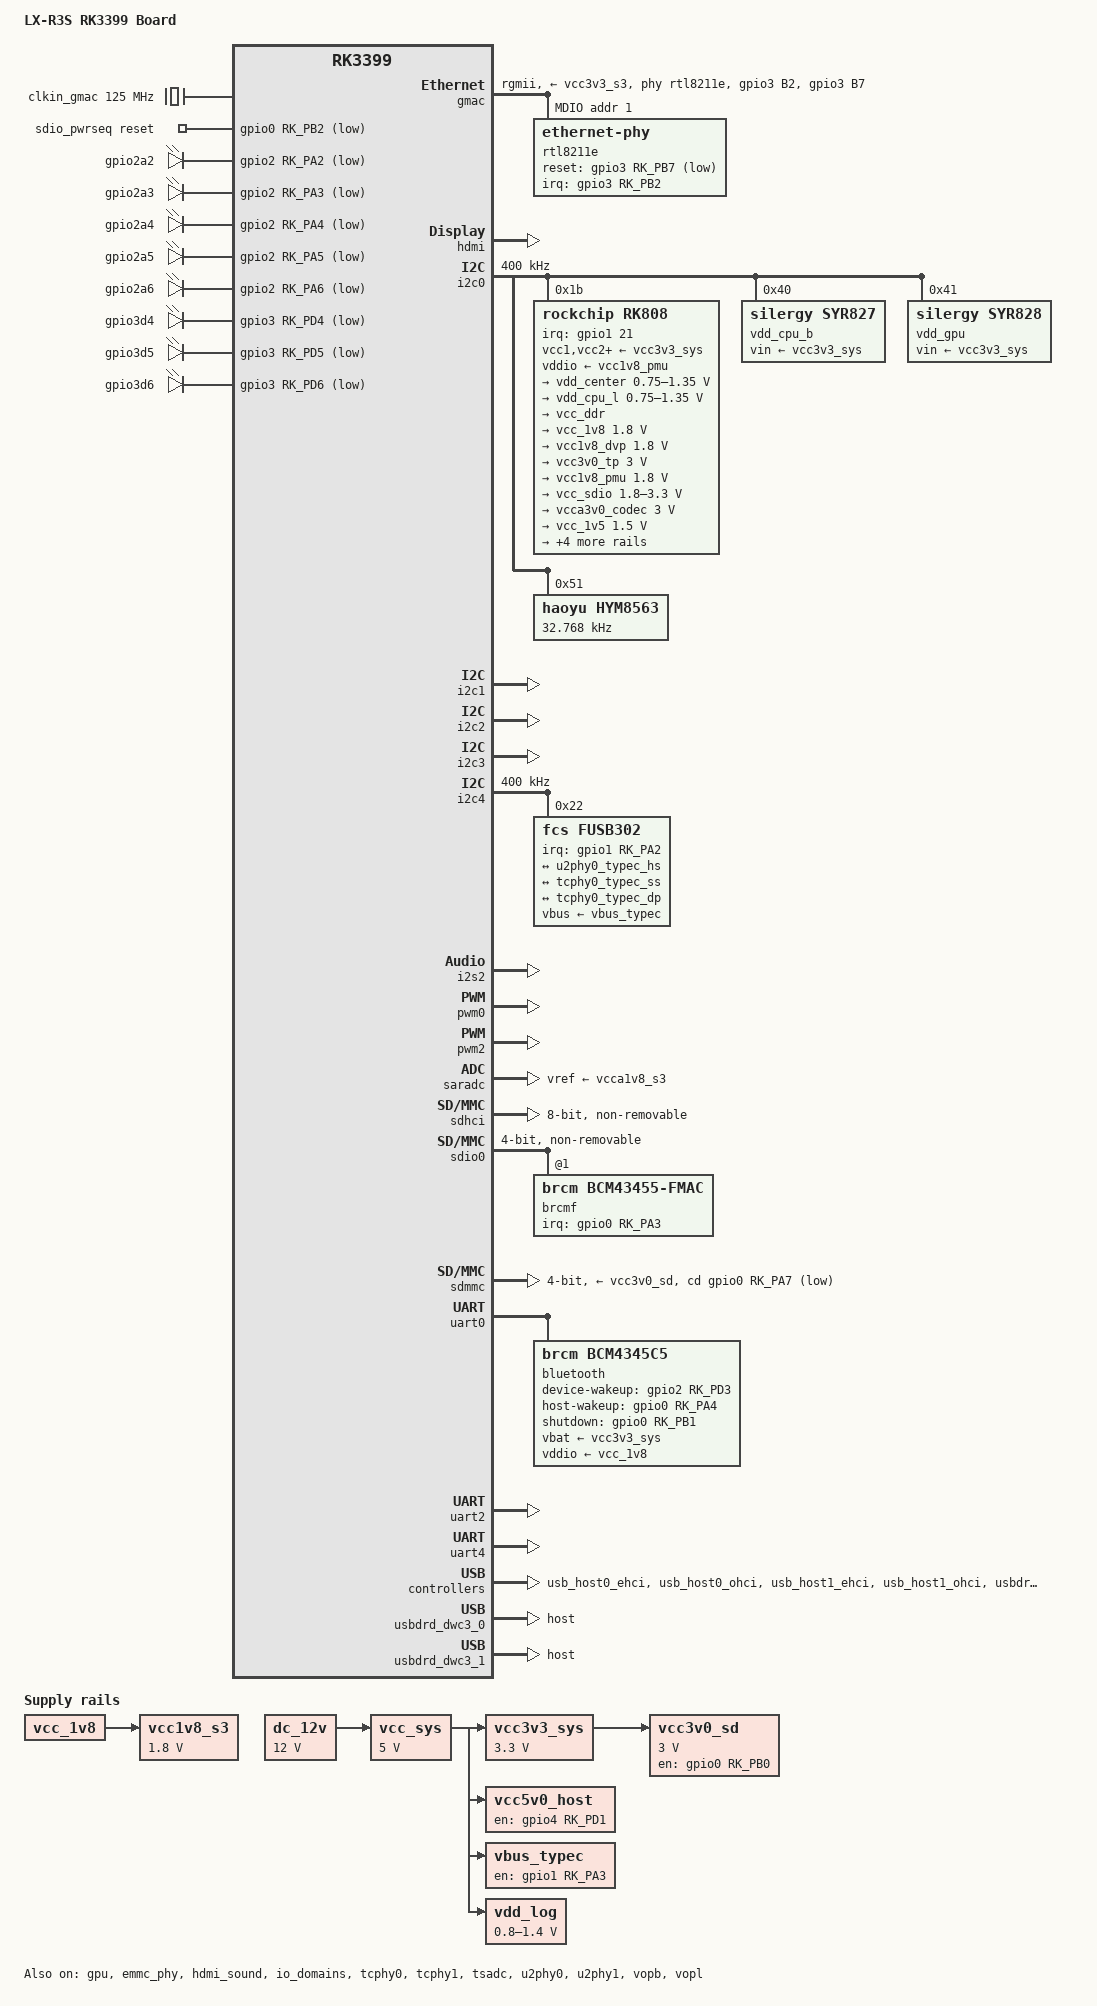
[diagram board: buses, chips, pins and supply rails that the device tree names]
// SPDX-License-Identifier: (GPL-2.0+ OR MIT)
/dts-v1/;

#include <dt-bindings/pwm/pwm.h>
#include <dt-bindings/input/input.h>
#include <dt-bindings/usb/pd.h>
#include "rk3399.dtsi"

/ {
	model = "LX-R3S RK3399 Board";
	compatible = "rockchip,rk3399";

	aliases {
		ethernet0 = &gmac;
		mmc0 = &sdio0;
		mmc1 = &sdmmc;
		mmc2 = &sdhci;
	};

	chosen {
		stdout-path = "serial2:1500000n8";
	};
/*
	backlight: backlight {
		compatible = "pwm-backlight";
		brightness-levels = <
			  0   1   2   3   4   5   6   7
			  8   9  10  11  12  13  14  15
			 16  17  18  19  20  21  22  23
			 24  25  26  27  28  29  30  31
			 32  33  34  35  36  37  38  39
			 40  41  42  43  44  45  46  47
			 48  49  50  51  52  53  54  55
			 56  57  58  59  60  61  62  63
			 64  65  66  67  68  69  70  71
			 72  73  74  75  76  77  78  79
			 80  81  82  83  84  85  86  87
			 88  89  90  91  92  93  94  95
			 96  97  98  99 100 101 102 103
			104 105 106 107 108 109 110 111
			112 113 114 115 116 117 118 119
			120 121 122 123 124 125 126 127
			128 129 130 131 132 133 134 135
			136 137 138 139 140 141 142 143
			144 145 146 147 148 149 150 151
			152 153 154 155 156 157 158 159
			160 161 162 163 164 165 166 167
			168 169 170 171 172 173 174 175
			176 177 178 179 180 181 182 183
			184 185 186 187 188 189 190 191
			192 193 194 195 196 197 198 199
			200 201 202 203 204 205 206 207
			208 209 210 211 212 213 214 215
			216 217 218 219 220 221 222 223
			224 225 226 227 228 229 230 231
			232 233 234 235 236 237 238 239
			240 241 242 243 244 245 246 247
			248 249 250 251 252 253 254 255>;
		default-brightness-level = <200>;
		enable-gpios = <&gpio1 RK_PA1 GPIO_ACTIVE_HIGH>; // bsp
		pwms = <&pwm0 0 25000 0>;
		status = "okay";
	};
*/
	clkin_gmac: external-gmac-clock {
		compatible = "fixed-clock";
		clock-frequency = <125000000>;
		clock-output-names = "clkin_gmac";
		#clock-cells = <0>;
	};

	dc_12v: dc-12v {
		compatible = "regulator-fixed";
		regulator-name = "dc_12v";
		regulator-always-on;
		regulator-boot-on;
		regulator-min-microvolt = <12000000>;
		regulator-max-microvolt = <12000000>;
	};

	sdio_pwrseq: sdio-pwrseq {
		compatible = "mmc-pwrseq-simple";
		clocks = <&rk808 1>;
		clock-names = "ext_clock";
		pinctrl-names = "default";
		pinctrl-0 = <&wifi_reg_on_h>;
		reset-gpios = <&gpio0 RK_PB2 GPIO_ACTIVE_LOW>;
	};

	/* switched by pmic_sleep */
	vcc1v8_s3: vcca1v8_s3: vcc1v8-s3 {
		compatible = "regulator-fixed";
		regulator-name = "vcc1v8_s3";
		regulator-always-on;
		regulator-boot-on;
		regulator-min-microvolt = <1800000>;
		regulator-max-microvolt = <1800000>;
		vin-supply = <&vcc_1v8>;
	};

	vcc3v0_sd: vcc3v0-sd {
		compatible = "regulator-fixed";
		enable-active-high;
		gpio = <&gpio0 RK_PB0 GPIO_ACTIVE_HIGH>; // bsp
		pinctrl-names = "default";
		pinctrl-0 = <&sdmmc0_pwr_h>;
		regulator-boot-on;
		regulator-max-microvolt = <3000000>;
		regulator-min-microvolt = <3000000>;
		regulator-name = "vcc3v0_sd";
		vin-supply = <&vcc3v3_sys>;
	};

	vcc3v3_sys: vcc3v3-sys {
		compatible = "regulator-fixed";
		regulator-name = "vcc3v3_sys";
		regulator-always-on;
		regulator-boot-on;
		regulator-min-microvolt = <3300000>;
		regulator-max-microvolt = <3300000>;
		vin-supply = <&vcc_sys>;
	};

	vcc5v0_host: vcc5v0-host-regulator {
		compatible = "regulator-fixed";
		enable-active-high;
		gpio = <&gpio4 RK_PD1 GPIO_ACTIVE_HIGH>;
		pinctrl-names = "default";
		pinctrl-0 = <&vcc5v0_host_en>;
		regulator-name = "vcc5v0_host";
		regulator-always-on;
		vin-supply = <&vcc_sys>;
	};

	vbus_typec: vbus-typec-regulator {
		compatible = "regulator-fixed";
		enable-active-high;
		gpio = <&gpio1 RK_PA3 GPIO_ACTIVE_HIGH>; // bsp verify
		pinctrl-names = "default";
		pinctrl-0 = <&vcc5v0_typec_en>;
		regulator-name = "vbus_typec";
		vin-supply = <&vcc_sys>;
	};

	vcc_sys: vcc-sys {
		compatible = "regulator-fixed";
		regulator-name = "vcc_sys";
		regulator-always-on;
		regulator-boot-on;
		regulator-min-microvolt = <5000000>;
		regulator-max-microvolt = <5000000>;
		vin-supply = <&dc_12v>;
	};

	vdd_log: vdd-log {
		compatible = "pwm-regulator";
		pwms = <&pwm2 0 25000 1>;
		regulator-name = "vdd_log";
		regulator-always-on;
		regulator-boot-on;
		regulator-min-microvolt = <800000>;
		regulator-max-microvolt = <1400000>;
		vin-supply = <&vcc_sys>;
	};
/*
	vcc_lcd: vcc-lcd {
		compatible = "regulator-fixed";
		enable-active-high;
		gpio = <&gpio4 RK_PD6 GPIO_ACTIVE_HIGH>; // bsp
		regulator-boot-on;
		regulator-max-microvolt = <3300000>;
		regulator-min-microvolt = <3300000>;
		regulator-name = "vcc_lcd";
		startup-delay-us = <20000>;
	};
*/

	leds {
		compatible = "gpio-leds";
		pinctrl-names = "default";
		pinctrl-0 = <&gpio2a2_pin>, <&gpio2a3_pin>, <&gpio2a4_pin>, <&gpio2a5_pin>, <&gpio2a6_pin>,
					<&gpio3d4_pin>, <&gpio3d5_pin>, <&gpio3d6_pin>;

		gpio2a2_led: led-gpio2a2 {
			label = "gpio2a2";
			default-state = "off";
			gpios = <&gpio2 RK_PA2 GPIO_ACTIVE_LOW>;
		};
		gpio2a3_led: led-gpio2a3 {
			label = "gpio2a3";
			default-state = "off";
			gpios = <&gpio2 RK_PA3 GPIO_ACTIVE_LOW>;
		};
		gpio2a4_led: led-gpio2a4 {
			label = "gpio2a4";
			default-state = "off";
			gpios = <&gpio2 RK_PA4 GPIO_ACTIVE_LOW>;
		};
		gpio2a5_led: led-gpio2a5 {
			label = "gpio2a5";
			default-state = "off";
			gpios = <&gpio2 RK_PA5 GPIO_ACTIVE_LOW>;
		};
		gpio2a6_led: led-gpio2a6 {
			label = "gpio2a6";
			default-state = "off";
			gpios = <&gpio2 RK_PA6 GPIO_ACTIVE_LOW>;
		};

		gpio3d4_led: led-gpio3d4 {
			label = "gpio3d4";
			default-state = "off";
			gpios = <&gpio3 RK_PD4 GPIO_ACTIVE_LOW>;
		};
		// maybe used to enable usb 2.0
		gpio3d5_led: led-gpio3d5 {
			label = "gpio3d5";
			default-state = "off";
			gpios = <&gpio3 RK_PD5 GPIO_ACTIVE_LOW>;
		};
		gpio3d6_led: led-gpio3d6 {
			label = "gpio3d6";
			default-state = "off";
			gpios = <&gpio3 RK_PD6 GPIO_ACTIVE_LOW>;
		};
	};

	rt5640-sound {
		// status = "okay";
		status = "disabled";
		compatible = "simple-audio-card";
		pinctrl-names = "default";
		pinctrl-0 = <&rt5640_hpdet>;

		simple-audio-card,name = "rt5640-codec";
		simple-audio-card,format = "i2s";
		simple-audio-card,mclk-fs = <256>;
		simple-audio-card,hp-det-gpio = < &gpio4 RK_PD0 GPIO_ACTIVE_HIGH >;
		simple-audio-card,widgets =
			"Microphone", "Mic Jack",
			"Headphone", "Headphone Jack",
			"Speaker", "Speaker";
		simple-audio-card,routing =
			"Mic Jack", "MICBIAS1",
			"IN1P", "Mic Jack",
			"Headphone Jack", "HPOL",
			"Headphone Jack", "HPOR",
			"Speaker Amplifier INL", "HPOL",
			"Speaker Amplifier INR", "HPOR",
			"Speaker", "Speaker Amplifier OUTL",
			"Speaker", "Speaker Amplifier OUTR";

		simple-audio-card,cpu {
			sound-dai = <&i2s0>;
		};

		simple-audio-card,codec {
			sound-dai = <&rt5640>;
		};
	};

	speaker_amp: speaker-amplifier { // verify
		compatible = "simple-audio-amplifier";
		pinctrl-names = "default";
		pinctrl-0 = <&rt5640_spkcon>;
		enable-gpios = <&gpio0 RK_PB3 GPIO_ACTIVE_HIGH>;
		sound-name-prefix = "Speaker Amplifier";
		// VCC-supply = <&vcc5v0_sys>;
		status = "disabled";
	};

};

&cpu_l0 {
	cpu-supply = <&vdd_cpu_l>;
};

&cpu_l1 {
	cpu-supply = <&vdd_cpu_l>;
};

&cpu_l2 {
	cpu-supply = <&vdd_cpu_l>;
};

&cpu_l3 {
	cpu-supply = <&vdd_cpu_l>;
};

&cpu_b0 {
	cpu-supply = <&vdd_cpu_b>;
};

&cpu_b1 {
	cpu-supply = <&vdd_cpu_b>;
};

&gpu {
	mali-supply = <&vdd_gpu>;
	status = "okay";
};

&emmc_phy {
	status = "okay";
};

&gmac {
	assigned-clocks = <&cru SCLK_RMII_SRC>;
	assigned-clock-parents = <&clkin_gmac>;
	clock_in_out = "input";
	phy-supply = <&vcc3v3_s3>;
	phy-mode = "rgmii";
	phy-handle = <&rtl8211e>;
	pinctrl-names = "default";
	pinctrl-0 = <&rgmii_pins>, <&phy_intb>, <&phy_rstb>;
	tx_delay = <0x28>;
	rx_delay = <0x11>;
	status = "okay";

	mdio {
		compatible = "snps,dwmac-mdio";
		#address-cells = <1>;
		#size-cells = <0>;

		rtl8211e: ethernet-phy@1 {
			reg = <1>;
			interrupt-parent = <&gpio3>;
			interrupts = <RK_PB2 IRQ_TYPE_LEVEL_LOW>;
			reset-assert-us = <10000>;
			reset-deassert-us = <30000>;
			reset-gpios = <&gpio3 RK_PB7 GPIO_ACTIVE_LOW>;
		};
	};
};

/*
&gmac {
	assigned-clocks = <&cru SCLK_RMII_SRC>;
	assigned-clock-parents = <&clkin_gmac>;
	clock_in_out = "input";
	phy-supply = <&vcc_lan>;
	phy-mode = "rgmii";
	pinctrl-names = "default";
	pinctrl-0 = <&rgmii_pins>;
	snps,reset-gpio = <&gpio3 RK_PB7 GPIO_ACTIVE_LOW>;
	snps,reset-active-low;
	snps,reset-delays-us = <0 10000 50000>;
	tx_delay = <0x28>;
	rx_delay = <0x11>;
	status = "okay";
};
*/

&hdmi {
	ddc-i2c-bus = <&i2c3>;
	status = "okay";
};

&hdmi_sound {
	status = "okay";
};

&i2c0 {
	clock-frequency = <400000>;
	i2c-scl-rising-time-ns = <168>;
	i2c-scl-falling-time-ns = <4>;
	status = "okay";

	rk808: pmic@1b {
		compatible = "rockchip,rk808";
		reg = <0x1b>;
		interrupt-parent = <&gpio1>;
		interrupts = <21 IRQ_TYPE_LEVEL_LOW>;
		#clock-cells = <1>;
		clock-output-names = "xin32k", "rk808-clkout2";
		pinctrl-names = "default";
		pinctrl-0 = <&pmic_int_l>;
		rockchip,system-power-controller;
		wakeup-source;

		vcc1-supply = <&vcc3v3_sys>;
		vcc2-supply = <&vcc3v3_sys>;
		vcc3-supply = <&vcc3v3_sys>;
		vcc4-supply = <&vcc3v3_sys>;
		vcc6-supply = <&vcc3v3_sys>;
		vcc7-supply = <&vcc3v3_sys>;
		vcc8-supply = <&vcc3v3_sys>;
		vcc9-supply = <&vcc3v3_sys>;
		vcc10-supply = <&vcc3v3_sys>;
		vcc11-supply = <&vcc3v3_sys>;
		vcc12-supply = <&vcc3v3_sys>;
		vddio-supply = <&vcc1v8_pmu>;

		regulators {
			vdd_center: DCDC_REG1 {
				regulator-name = "vdd_center";
				regulator-always-on;
				regulator-boot-on;
				regulator-min-microvolt = <750000>;
				regulator-max-microvolt = <1350000>;
				regulator-ramp-delay = <6001>;
				regulator-state-mem {
					regulator-off-in-suspend;
				};
			};

			vdd_cpu_l: DCDC_REG2 {
				regulator-name = "vdd_cpu_l";
				regulator-always-on;
				regulator-boot-on;
				regulator-min-microvolt = <750000>;
				regulator-max-microvolt = <1350000>;
				regulator-ramp-delay = <6001>;
				regulator-state-mem {
					regulator-off-in-suspend;
				};
			};

			vcc_ddr: DCDC_REG3 {
				regulator-name = "vcc_ddr";
				regulator-always-on;
				regulator-boot-on;
				regulator-state-mem {
					regulator-on-in-suspend;
				};
			};

			vcc_1v8: DCDC_REG4 {
				regulator-name = "vcc_1v8";
				regulator-always-on;
				regulator-boot-on;
				regulator-min-microvolt = <1800000>;
				regulator-max-microvolt = <1800000>;
				regulator-state-mem {
					regulator-on-in-suspend;
					regulator-suspend-microvolt = <1800000>;
				};
			};

			vcc1v8_dvp: LDO_REG1 {
				regulator-name = "vcc1v8_dvp";
				regulator-always-on;
				regulator-boot-on;
				regulator-min-microvolt = <1800000>;
				regulator-max-microvolt = <1800000>;
				regulator-state-mem {
					regulator-off-in-suspend;
				};
			};

			vcc3v0_tp: LDO_REG2 {
				regulator-name = "vcc3v0_tp";
				regulator-always-on;
				regulator-boot-on;
				regulator-min-microvolt = <3000000>;
				regulator-max-microvolt = <3000000>;
				regulator-state-mem {
					regulator-off-in-suspend;
				};
			};

			vcc1v8_pmu: LDO_REG3 {
				regulator-name = "vcc1v8_pmu";
				regulator-always-on;
				regulator-boot-on;
				regulator-min-microvolt = <1800000>;
				regulator-max-microvolt = <1800000>;
				regulator-state-mem {
					regulator-on-in-suspend;
					regulator-suspend-microvolt = <1800000>;
				};
			};

			vcc_sdio: LDO_REG4 {
				regulator-name = "vcc_sdio";
				regulator-always-on;
				regulator-boot-on;
				regulator-min-microvolt = <1800000>;
				regulator-max-microvolt = <3300000>;
				regulator-state-mem {
					regulator-on-in-suspend;
					regulator-suspend-microvolt = <3000000>;
				};
			};

			vcca3v0_codec: LDO_REG5 {
				regulator-name = "vcca3v0_codec";
				regulator-always-on;
				regulator-boot-on;
				regulator-min-microvolt = <3000000>;
				regulator-max-microvolt = <3000000>;
				regulator-state-mem {
					regulator-off-in-suspend;
				};
			};

			vcc_1v5: LDO_REG6 {
				regulator-name = "vcc_1v5";
				regulator-always-on;
				regulator-boot-on;
				regulator-min-microvolt = <1500000>;
				regulator-max-microvolt = <1500000>;
				regulator-state-mem {
					regulator-on-in-suspend;
					regulator-suspend-microvolt = <1500000>;
				};
			};

			vcca1v8_codec: LDO_REG7 {
				regulator-name = "vcca1v8_codec";
				regulator-always-on;
				regulator-boot-on;
				regulator-min-microvolt = <1800000>;
				regulator-max-microvolt = <1800000>;
				regulator-state-mem {
					regulator-off-in-suspend;
				};
			};

			vcc_3v0: LDO_REG8 {
				regulator-name = "vcc_3v0";
				regulator-always-on;
				regulator-boot-on;
				regulator-min-microvolt = <3000000>;
				regulator-max-microvolt = <3000000>;
				regulator-state-mem {
					regulator-on-in-suspend;
					regulator-suspend-microvolt = <3000000>;
				};
			};

			vcc3v3_s3: vcc_lan: SWITCH_REG1 {
				regulator-name = "vcc3v3_s3";
				regulator-always-on;
				regulator-boot-on;
				regulator-state-mem {
					regulator-off-in-suspend;
				};
			};

			vcc3v3_s0: SWITCH_REG2 {
				regulator-name = "vcc3v3_s0";
				regulator-always-on;
				regulator-boot-on;
				regulator-state-mem {
					regulator-off-in-suspend;
				};
			};
		};
	};

	vdd_cpu_b: regulator@40 {
		compatible = "silergy,syr827";
		reg = <0x40>;
		fcs,suspend-voltage-selector = <1>;
		pinctrl-names = "default";
		pinctrl-0 = <&cpu_b_sleep>;
		regulator-name = "vdd_cpu_b";
		regulator-min-microvolt = <712500>;
		regulator-max-microvolt = <1500000>;
		regulator-ramp-delay = <1000>;
		regulator-always-on;
		regulator-boot-on;
		vin-supply = <&vcc3v3_sys>;

		regulator-state-mem {
			regulator-off-in-suspend;
		};
	};

	vdd_gpu: regulator@41 {
		compatible = "silergy,syr828";
		reg = <0x41>;
		fcs,suspend-voltage-selector = <1>;
		pinctrl-names = "default";
		pinctrl-0 = <&gpu_sleep>;
		regulator-name = "vdd_gpu";
		regulator-min-microvolt = <712500>;
		regulator-max-microvolt = <1500000>;
		regulator-ramp-delay = <1000>;
		regulator-always-on;
		regulator-boot-on;
		vin-supply = <&vcc3v3_sys>;

		regulator-state-mem {
			regulator-off-in-suspend;
		};
	};

	// RTC
	hym8563: hym8563@51 {
		compatible = "haoyu,hym8563";
		reg = <0x51>;
		#clock-cells = <0>;
		clock-frequency = <32768>;
		clock-output-names = "xin32k";
	};
};

&i2c1 {
	i2c-scl-rising-time-ns = <450>;
	i2c-scl-falling-time-ns = <15>;
	status = "okay";

	// 放弃
	rt5640: rt5640@1c {
		compatible = "realtek,rt5640";
		reg = <0x1c>;
		clocks = <&cru SCLK_I2S_8CH_OUT>;
		clock-names = "mclk";
		realtek,in1-differential;
		#sound-dai-cells = <0>;
		pinctrl-names = "default";
		pinctrl-0 = <&rt5640_hpcon>;
		// pinctrl-0 = <&rt5640_hpcon &rt5640_auxdet>;
		// hp-con-gpio = < &gpio4 RK_PC5 GPIO_ACTIVE_HIGH >;
		// spk-con-gpio = < &gpio0 RK_PB3 GPIO_ACTIVE_HIGH >;
		// hp-det-gpio = < &gpio4 RK_PD0 GPIO_ACTIVE_LOW >;
		// aux-det-gpio = < &gpio4 RK_PD2 GPIO_ACTIVE_LOW >;
		// io-channels = <&saradc 4>;
		// hp-det-adc-value = <500>;
		// status = "okay";
		status = "disabled";
	};
};

// Used for wk2132
&i2c2 {
	status = "okay";
};

// Used for HDMI
&i2c3 {
	i2c-scl-rising-time-ns = <450>;
	i2c-scl-falling-time-ns = <15>;
	status = "okay";
};

&i2c4 {
	clock-frequency = <400000>;
	i2c-scl-rising-time-ns = <450>;
	i2c-scl-falling-time-ns = <15>;
	status = "okay";

/*
	mma8452: mma8452@1d {
		compatible = "fsl,mma8452";
		reg = <0x1d>;
		interrupt-parent = <&gpio8>;
		interrupts = <RK_PA0 IRQ_TYPE_EDGE_RISING>;
		pinctrl-names = "default";
		pinctrl-0 = <&gsensor_int>;
	};
*/
	fusb302@22 {
		compatible = "fcs,fusb302";
		reg = <0x22>;
		interrupt-parent = <&gpio1>;
		interrupts = <RK_PA2 IRQ_TYPE_LEVEL_LOW>; // bsp
		pinctrl-names = "default";
		pinctrl-0 = <&chg_cc_int_l>;
		vbus-supply = <&vbus_typec>;

		typec_con: connector {
			compatible = "usb-c-connector";
			data-role = "host";
			label = "USB-C";
			op-sink-microwatt = <1000000>;
			power-role = "dual";
			sink-pdos =
				<PDO_FIXED(5000, 2500, PDO_FIXED_USB_COMM)>;
			source-pdos =
				<PDO_FIXED(5000, 1400, PDO_FIXED_USB_COMM)>;
			try-power-role = "sink";

			ports {
				#address-cells = <1>;
				#size-cells = <0>;

				port@0 {
					reg = <0>;
					typec_hs: endpoint {
						remote-endpoint = <&u2phy0_typec_hs>;
					};
				};
				port@1 {
					reg = <1>;
					typec_ss: endpoint {
						remote-endpoint = <&tcphy0_typec_ss>;
					};
				};
				port@2 {
					reg = <2>;
					typec_dp: endpoint {
						remote-endpoint = <&tcphy0_typec_dp>;
					};
				};
			};
		};
	};
};

// ALC5640
&i2s0 {
	pinctrl-0 = <&i2s0_2ch_bus>;
	rockchip,capture-channels = <2>;
	rockchip,playback-channels = <2>;
	// status = "okay";
};

// HDMI SOUND OUT
&i2s2 {
	status = "okay";
};

&io_domains {
	status = "okay";
	// bt656-supply = <&vcc1v8_dvp>;
	// audio-supply = <&vcca1v8_codec>;
	sdmmc-supply = <&vcc_sdio>;
	gpio1830-supply = <&vcc_3v0>;
};

&pmu_io_domains {
	status = "okay";
	pmu1830-supply = <&vcc_3v0>;
};

&pinctrl {
	pmic {
		cpu_b_sleep: cpu-b-sleep {
			rockchip,pins = <1 RK_PC1 RK_FUNC_GPIO &pcfg_pull_down>;
		};

		gpu_sleep: gpu-sleep {
			rockchip,pins = <1 RK_PB6 RK_FUNC_GPIO &pcfg_pull_down>;
		};

		pmic_int_l: pmic-int-l {
			rockchip,pins = <1 RK_PC5 RK_FUNC_GPIO &pcfg_pull_up>;
		};
	};

	sd {
		sdmmc0_pwr_h: sdmmc0-pwr-h {
			rockchip,pins =
				<0 RK_PB0 RK_FUNC_GPIO &pcfg_pull_none>; // bsp
		};
	};

	gmac {
		phy_intb: phy-intb {
			rockchip,pins = <3 RK_PB2 RK_FUNC_GPIO &pcfg_pull_up>; // verify
		};

		phy_rstb: phy-rstb {
			rockchip,pins = <3 RK_PB7 RK_FUNC_GPIO &pcfg_pull_none>; // verify
		};
	};

	usb2 {
		vcc5v0_host_en: vcc5v0-host-en {
			rockchip,pins =
				<4 RK_PD1 RK_FUNC_GPIO &pcfg_pull_none>;
		};

		vcc5v0_typec_en: vcc5v0-typec-en {
			rockchip,pins =
				<1 RK_PA3 RK_FUNC_GPIO &pcfg_pull_none>; // bsp
		};
	};

	sdio-pwrseq {
		wifi_reg_on_h: wifi-reg-on-h {
			rockchip,pins = <0 RK_PB2 RK_FUNC_GPIO &pcfg_pull_none>;
		};
	};

	wifi {
		wifi_host_wake_l: wifi-host-wake-l {
			rockchip,pins = <0 RK_PA3 RK_FUNC_GPIO &pcfg_pull_none>;
		};
	};

	bluetooth {
		bt_reg_on_h: bt-enable-h {
			rockchip,pins = <0 RK_PB1 RK_FUNC_GPIO &pcfg_pull_none>;
		};

		bt_host_wake_l: bt-host-wake-l {
			rockchip,pins = <0 RK_PA4 RK_FUNC_GPIO &pcfg_pull_none>;
		};

		bt_wake_l: bt-wake-l {
			rockchip,pins = <2 RK_PD3 RK_FUNC_GPIO &pcfg_pull_none>;
		};
	};

	rt5640 {
		rt5640_hpcon: rt5640-hpcon {
			rockchip,pins = <4 RK_PC5 RK_FUNC_GPIO &pcfg_pull_up>; // bsp
		};

		rt5640_spkcon: rt5640-spkcon {
			rockchip,pins = <0 RK_PB3 RK_FUNC_GPIO &pcfg_pull_up>; // bsp
		};

		rt5640_hpdet: rt5640-hpdet {
			rockchip,pins = <4 RK_PD0 RK_FUNC_GPIO &pcfg_pull_none>; // bsp
		};

		rt5640_auxdet: rt5640-auxdet {
			rockchip,pins = <4 RK_PD2 RK_FUNC_GPIO &pcfg_pull_none>; // bsp
		};
	};

	fusb302 {
		chg_cc_int_l: chg-cc-int-l {
			rockchip,pins = <1 RK_PA2 RK_FUNC_GPIO &pcfg_pull_up>; // bsp
		};
	};

	leds {
		gpio2a2_pin: gpio2a2-pin {
			rockchip,pins = <2 RK_PA2 RK_FUNC_GPIO &pcfg_pull_down>;
		};
		gpio2a3_pin: gpio2a3-pin {
			rockchip,pins = <2 RK_PA3 RK_FUNC_GPIO &pcfg_pull_down>;
		};
		gpio2a4_pin: gpio2a4-pin {
			rockchip,pins = <2 RK_PA4 RK_FUNC_GPIO &pcfg_pull_down>;
		};
		gpio2a5_pin: gpio2a5-pin {
			rockchip,pins = <2 RK_PA5 RK_FUNC_GPIO &pcfg_pull_down>;
		};
		gpio2a6_pin: gpio2a6-pin {
			rockchip,pins = <2 RK_PA6 RK_FUNC_GPIO &pcfg_pull_down>;
		};

		gpio3d4_pin: gpio3d4-pin {
			rockchip,pins = <3 RK_PD4 RK_FUNC_GPIO &pcfg_pull_down>;
		};
		gpio3d5_pin: gpio3d5-pin {
			rockchip,pins = <3 RK_PD5 RK_FUNC_GPIO &pcfg_pull_down>;
		};
		gpio3d6_pin: gpio3d6-pin {
			rockchip,pins = <3 RK_PD6 RK_FUNC_GPIO &pcfg_pull_down>;
		};
	};

};

&pwm0 {
	status = "okay";
};

&pwm2 {
	status = "okay";
};

// IR
// &pwm3 {
// 	status = "okay";
// };

&saradc {
	vref-supply = <&vcca1v8_s3>;
	status = "okay";
};

&sdhci {
	bus-width = <8>;
	mmc-hs400-1_8v;
	mmc-hs400-enhanced-strobe;
	keep-power-in-suspend;
	non-removable;
	status = "okay";
};

&sdio0 {
	bus-width = <4>;
	cap-sd-highspeed;
	cap-sdio-irq;
	clock-frequency = <50000000>;
	disable-wp;
	keep-power-in-suspend;
	max-frequency = <50000000>;
	mmc-pwrseq = <&sdio_pwrseq>;
	non-removable;
	pinctrl-names = "default";
	pinctrl-0 = <&sdio0_bus4 &sdio0_cmd &sdio0_clk>;
	sd-uhs-sdr104;
	#address-cells = <1>;
	#size-cells = <0>;
	status = "okay";

	brcmf: wifi@1 {
		reg = <1>;
		compatible = "brcm,bcm43455-fmac";
		interrupt-parent = <&gpio0>;
		interrupts = <RK_PA3 GPIO_ACTIVE_HIGH>; // bsp verify
		interrupt-names = "host-wake";
		pinctrl-names = "default";
		pinctrl-0 = <&wifi_host_wake_l>;
	};
};

&sdmmc {
	bus-width = <4>;
	cap-mmc-highspeed;
	cap-sd-highspeed;
	cd-gpios = <&gpio0 RK_PA7 GPIO_ACTIVE_LOW>; //bsp
	clock-frequency = <150000000>;
	disable-wp;
	sd-uhs-sdr104;
	max-frequency = <150000000>;
	pinctrl-names = "default";
	pinctrl-0 = <&sdmmc_clk &sdmmc_cmd &sdmmc_cd &sdmmc_bus4>;
	vmmc-supply = <&vcc3v0_sd>;
	vqmmc-supply = <&vcc_sdio>;
	status = "okay";
};

&tcphy0 {
	status = "okay";
};

&tcphy0_dp {
	port {
		tcphy0_typec_dp: endpoint {
			remote-endpoint = <&typec_dp>;
		};
	};
};

&tcphy0_usb3 {
	port {
		tcphy0_typec_ss: endpoint {
			remote-endpoint = <&typec_ss>;
		};
	};
};

&tcphy1 {
	status = "okay";
};

&tsadc {
	rockchip,hw-tshut-mode = <1>;
	rockchip,hw-tshut-polarity = <1>;
	status = "okay";
};

&u2phy0 {
	status = "okay";

	u2phy0_otg: otg-port {
		phy-supply = <&vbus_typec>;
		status = "okay";
	};

	u2phy0_host: host-port {
		phy-supply = <&vcc5v0_host>;
		status = "okay";
	};

	port {
		u2phy0_typec_hs: endpoint {
			remote-endpoint = <&typec_hs>;
		};
	};
};

&u2phy1 {
	status = "okay";

	u2phy1_otg: otg-port {
		status = "okay";
	};

	u2phy1_host: host-port {
		phy-supply = <&vcc5v0_host>;
		status = "okay";
	};
};

&uart0 {
	pinctrl-names = "default";
	pinctrl-0 = <&uart0_xfer &uart0_cts &uart0_rts>;
	status = "okay";

	bluetooth {
		// compatible = "brcm,bcm43438-bt";
		// max-speed = < 1500000 >;
		compatible = "brcm,bcm4345c5";
		clocks = <&rk808 1>;
		clock-names = "ext_clock";
		device-wakeup-gpios = <&gpio2 RK_PD3 GPIO_ACTIVE_HIGH>; // bsp verify
		host-wakeup-gpios = <&gpio0 RK_PA4 GPIO_ACTIVE_HIGH>; // bsp verify
		shutdown-gpios = <&gpio0 RK_PB1 GPIO_ACTIVE_HIGH>; // bsp
		pinctrl-names = "default";
		pinctrl-0 = <&bt_host_wake_l &bt_wake_l &bt_reg_on_h>;
		vbat-supply = <&vcc3v3_sys>;
		vddio-supply = <&vcc_1v8>;
	};
};

&uart2 {
	status = "okay";
};

&uart4 {
	status = "okay";
};

&usb_host0_ehci {
	status = "okay";
};

&usb_host0_ohci {
	status = "okay";
};

&usb_host1_ehci {
	status = "okay";
};

&usb_host1_ohci {
	status = "okay";
};

&usbdrd3_0 {
	status = "okay";
};

&usbdrd_dwc3_0 {
	status = "okay";
	dr_mode = "host";
};

&usbdrd3_1 {
	status = "okay";
};

&usbdrd_dwc3_1 {
	status = "okay";
	dr_mode = "host";
};

&vopb {
	status = "okay";
};

&vopb_mmu {
	status = "okay";
};

&vopl {
	status = "okay";
};

&vopl_mmu {
	status = "okay";
};
